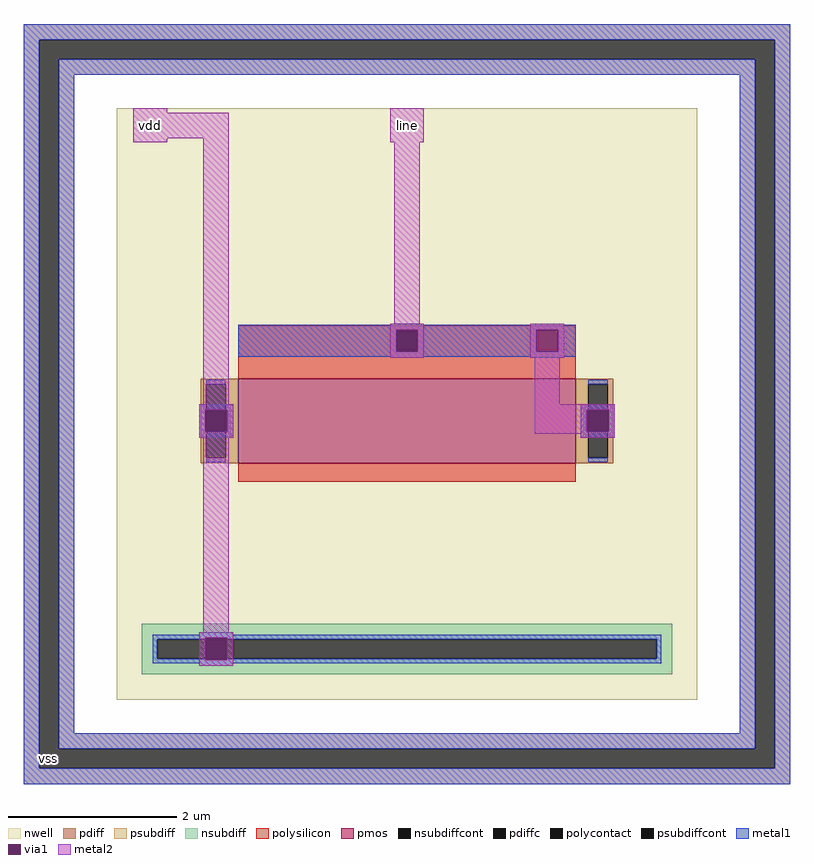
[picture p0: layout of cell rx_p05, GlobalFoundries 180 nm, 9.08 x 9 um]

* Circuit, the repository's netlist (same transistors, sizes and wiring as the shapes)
* NGSPICE file created from rx_p05.ext - technology: gf180mcuD

.subckt p_w1_l4 a_n488_n100# a_400_n100# a_n400_n144# w_n574_n230#
X0 a_400_n100# a_n400_n144# a_n488_n100# w_n574_n230# pfet_03v3 ad=0.44p pd=2.88u as=0.44p ps=2.88u w=1u l=4u
.ends

.subckt rx_p05 line vdd vss
XD vdd line line vdd p_w1_l4
.ends

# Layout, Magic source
magic
tech gf180mcuD
magscale 1 10
<< nwell >>
rect 220 200 1596 1600
<< psubdiff >>
rect 0 1763 1816 1800
rect 0 37 37 1763
rect 83 1680 1733 1717
rect 83 120 120 1680
rect 1696 120 1733 1680
rect 83 83 1733 120
rect 1779 37 1816 1763
rect 0 0 1816 37
<< nsubdiff >>
rect 280 343 1536 380
rect 280 297 317 343
rect 1499 297 1536 343
rect 280 260 1536 297
<< psubdiffcont >>
rect 37 1717 1779 1763
rect 37 83 83 1717
rect 1733 83 1779 1717
rect 37 37 1779 83
<< nsubdiffcont >>
rect 317 297 1499 343
<< polysilicon >>
rect 508 1073 1308 1086
rect 508 1027 885 1073
rect 931 1027 1308 1073
rect 508 960 1308 1027
<< polycontact >>
rect 885 1027 931 1073
<< metal1 >>
rect 0 1763 1816 1800
rect 0 37 37 1763
rect 83 1680 1733 1717
rect 83 120 120 1680
rect 868 1088 948 1090
rect 1200 1088 1280 1090
rect 508 1076 1308 1088
rect 508 1024 882 1076
rect 934 1024 1214 1076
rect 1266 1024 1308 1076
rect 508 1012 1308 1024
rect 868 1010 948 1012
rect 1200 1010 1280 1012
rect 416 886 496 900
rect 416 834 430 886
rect 482 834 496 886
rect 416 820 496 834
rect 1320 886 1400 900
rect 1320 834 1334 886
rect 1386 834 1400 886
rect 1320 820 1400 834
rect 416 354 496 360
rect 306 346 1510 354
rect 306 343 430 346
rect 482 343 1510 346
rect 306 297 317 343
rect 1499 297 1510 343
rect 306 294 430 297
rect 482 294 1510 297
rect 306 286 1510 294
rect 416 280 496 286
rect 1696 120 1733 1680
rect 83 83 1733 120
rect 1779 37 1816 1763
rect 0 0 1816 37
<< via1 >>
rect 882 1073 934 1076
rect 882 1027 885 1073
rect 885 1027 931 1073
rect 931 1027 934 1073
rect 882 1024 934 1027
rect 1214 1024 1266 1076
rect 430 834 482 886
rect 1334 834 1386 886
rect 430 343 482 346
rect 430 297 482 343
rect 430 294 482 297
<< metal2 >>
rect 260 1590 340 1600
rect 260 1530 486 1590
rect 260 1520 340 1530
rect 426 900 486 1530
rect 868 1520 948 1600
rect 878 1090 938 1520
rect 868 1076 948 1090
rect 868 1024 882 1076
rect 934 1024 948 1076
rect 868 1010 948 1024
rect 1200 1076 1280 1090
rect 1200 1024 1214 1076
rect 1266 1024 1280 1076
rect 1200 1010 1280 1024
rect 1210 900 1270 1010
rect 416 886 496 900
rect 416 834 430 886
rect 482 834 496 886
rect 416 820 496 834
rect 1210 886 1400 900
rect 1210 834 1334 886
rect 1386 834 1400 886
rect 1210 830 1400 834
rect 1320 820 1400 830
rect 426 360 486 820
rect 416 346 496 360
rect 416 294 430 346
rect 482 294 496 346
rect 416 280 496 294
use p_w1_l4  D devices
transform 1 0 908 0 1 860
box -574 -230 574 230
<< labels >>
flabel metal2 868 1520 948 1600 0 FreeSans 400 0 0 0 line
port 1 nsew signal bidirectional
flabel metal2 260 1520 340 1600 0 FreeSans 400 0 0 0 vdd
port 2 nsew power bidirectional
flabel metal1 20 20 100 100 0 FreeSans 400 0 0 0 vss
port 3 nsew ground bidirectional
<< end >>

# cell p_w1_l4: kit device pfet_03v3, w 1 l 4 m 1 nf 1 diffcov 100 polycov 100 guard 0 glc 1 grc 1 gtc 0 gbc 0 tbcov 100 rlcov 100 topc 0 botc 0 poverlap 0 doverlap 1 lmin 0.28 wmin 0.22 class mosfet full_metal 1 compatible {pfet_03v3 pfet_05v0 pfet_06v0}
